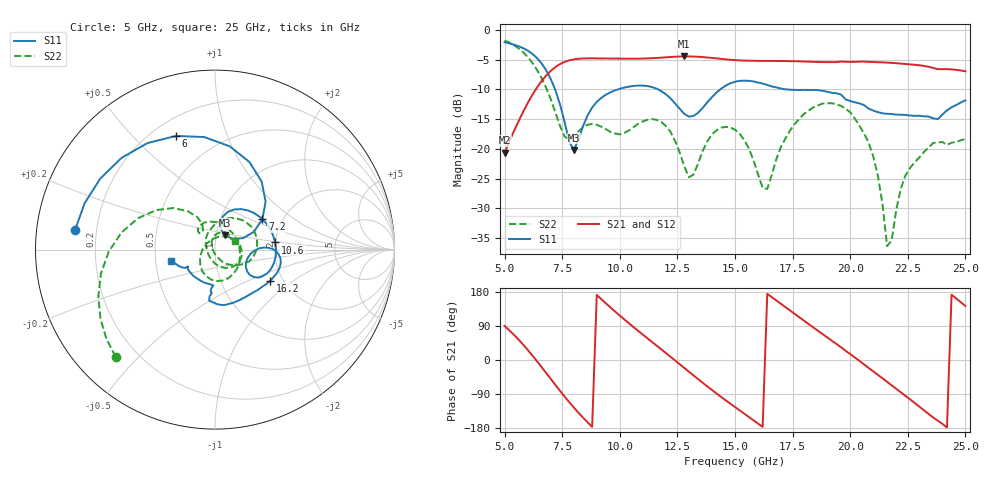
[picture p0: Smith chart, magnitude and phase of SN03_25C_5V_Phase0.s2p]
!File name = SN03_25C_5V_Phase0.s2p
!Date = 2/3/2014
!Time = 2:34 PM
!Test duration(min) = 0.08
!Test = SPars
!MPTS version = 7.120.8
!Comments =
!set_VREF(v) = 5.000
!set_LD1(binary) = 0
!set_LD2(binary) = 524287
!test = SPars
!date_code = 20140203
!file_name = SN03_25C_5V_Phase0.s2p
!VREF(V) = 5.000
!VREF(mA) = 0.001
# GHz  S  DB  R  50
!%	Freq(GHz)  S11(dB)  S11(deg)  S21(dB)  S21(deg)  S12(dB)  S12(deg)  S22(dB)  S22(deg)
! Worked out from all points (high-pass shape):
!   101 points, 5 GHz to 25 GHz, reference 50 ohm
!   highest |S21| = -4.46 dB at 12.8 GHz (marker M1); lowest = -20.6 dB at 5 GHz (marker M2)
!   |S21| within 3 dB of the highest: 6.858 GHz to end of sweep
!   lowest |S11| = -20.2 dB at 8 GHz (marker M3), VSWR 1.22, Z = 55.2 + j8.9 ohm
!   |S11| at or under -10 dB: 7.191 GHz to 9.928 GHz (2.737 GHz wide, 32 % of centre); 11.66 GHz to 14.36 GHz (2.707 GHz wide, 20.8 % of centre); 17.2 GHz to end of sweep
!   |S22| runs from -36.4 to -1.8 dB; largest |S21 - S12| = 0.00087
!   S11 on the Smith chart (normalised r, x): 5 GHz: 0.12, +0.07; 6 GHz: 0.29, +0.67; 7.2 GHz: 1.58, +0.59; 10.6 GHz: 2.00, +0.18; 16.2 GHz: 1.72, -0.68; 25 GHz: 0.60, -0.08
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5  -2.07 172.1  -20.62 89.6  -20.63 89.6  -1.78 -132.8
6  -3.48 109.0  -12.31 26.9  -12.33 26.9  -4.55 -178.9
6.6  -5.61 68.5  -8.63 -18.2  -8.64 -18.2  -8.08 146.0
7.2  -10.09 32.7  -6.26 -65.4  -6.27 -65.5  -13.83 118.3
8  -20.20 54.7  -4.96 -125.1  -4.97 -125.1  -17.93 133.9
8.4  -16.22 78.8  -4.81 -151.8  -4.82 -151.8  -16.36 128.0
9.4  -10.89 49.9  -4.81 149.3  -4.81 149.2  -16.69 74.5
10.6  -9.43 6.8  -4.85 86.7  -4.85 86.6  -16.35 -27.4
11.8  -10.30 -28.9  -4.67 28.1  -4.68 28.1  -15.47 -97.5
12.8  -14.12 -29.3  -4.46 -21.1  -4.47 -21.1  -22.95 -178.1
13.2  -14.48 -13.5  -4.49 -40.8  -4.49 -40.8  -24.34 104.3
13.8  -12.16 1.6  -4.65 -69.7  -4.65 -69.7  -18.73 33.9
15  -8.72 -7.0  -5.09 -124.1  -5.09 -124.1  -16.80 -37.1
16.2  -9.02 -29.2  -5.22 -176.6  -5.22 -176.6  -26.56 -138.9
18.4  -10.09 -79.0  -5.37 85.9  -5.38 85.9  -13.03 47.7
20.6  -12.65 -96.1  -5.34 -11.6  -5.34 -11.6  -17.41 -39.8
21.2  -13.83 -93.3  -5.44 -39.0  -5.44 -39.1  -24.45 -64.8
21.6  -14.11 -94.2  -5.51 -57.5  -5.51 -57.5  -36.36 -113.0
21.8  -14.14 -96.4  -5.55 -66.8  -5.56 -66.8  -35.39 156.8
22.6  -14.39 -115.3  -5.80 -104.0  -5.81 -104.0  -23.20 98.8
23.6  -14.87 -148.6  -6.40 -151.6  -6.40 -151.7  -19.00 61.7
25  -11.86 -165.9  -6.96 142.5  -6.96 142.5  -18.33 23.0
